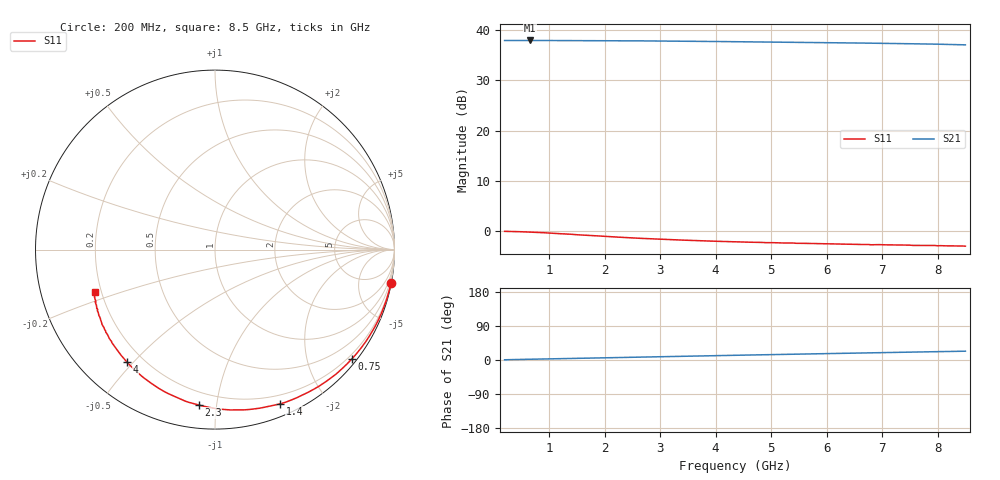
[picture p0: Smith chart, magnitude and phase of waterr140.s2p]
! R140 Conversion
! Date: 2025-10-23 16:17:18
! Start: 200.00MHz  Stop: 8.50GHz  Points: 167
! S-Parameter data: F S11 e
# Hz S RI R 50
!  Frequency  S11_Real  S11_Imag  Perm_Real  Perm_Imag  Dummy1  Dummy2  Dummy3  Dummy4
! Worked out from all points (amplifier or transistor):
!   167 points, 200 MHz to 8.5 GHz, reference 50 ohm
!   highest |S21| = 38.0 dB at 650 MHz (marker M1)
!   |S21| within 3 dB of that: start of sweep to end of sweep
!   S11 on the Smith chart (normalised r, x): 200 MHz: 0, -11; 750 MHz: 0.11, -2.85; 1.4 GHz: 0.11, -1.50; 2.3 GHz: 0.12, -0.89; 4 GHz: 0.14, -0.48; 8.5 GHz: 0.17, -0.16
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2e8  0.9812 -0.1839  78.94 0.7557  0 0  0 0
3e8  0.9577 -0.2726  78.96 1.325  0 0  0 0
6.5e8  0.8162 -0.5452  78.97 2.587  0 0  0 0
7.5e8  0.7627 -0.6089  78.93 3.028  0 0  0 0
1.4e9  0.3642 -0.8594  78.65 5.607  0 0  0 0
1.6e9  0.2471 -0.8839  78.52 6.372  0 0  0 0
2.3e9  -0.0915 -0.8656  77.96 9.132  0 0  0 0
3e9  -0.313 -0.7732  77.11 11.78  0 0  0 0
3.4e9  -0.3996 -0.7123  76.55 13.27  0 0  0 0
4e9  -0.4914 -0.6261  75.6 15.36  0 0  0 0
4.35e9  -0.5304 -0.579  74.98 16.54  0 0  0 0
4.95e9  -0.582 -0.5053  74.1 18.48  0 0  0 0
5.75e9  -0.6245 -0.4249  72.6 20.9  0 0  0 0
6e9  -0.6336 -0.4006  72.14 21.77  0 0  0 0
6.4e9  -0.6472 -0.3667  71.23 23.06  0 0  0 0
6.9e9  -0.6556 -0.3294  69.89 24.34  0 0  0 0
7.15e9  -0.6604 -0.3115  69.33 24.96  0 0  0 0
7.75e9  -0.6694 -0.2737  67.92 26.68  0 0  0 0
7.9e9  -0.6689 -0.2684  67.54 27.02  0 0  0 0
8.05e9  -0.6723 -0.2553  67.12 27.22  0 0  0 0
8.3e9  -0.6727 -0.2449  66.21 27.77  0 0  0 0
8.5e9  -0.6709 -0.2344  65.66 28.19  0 0  0 0
